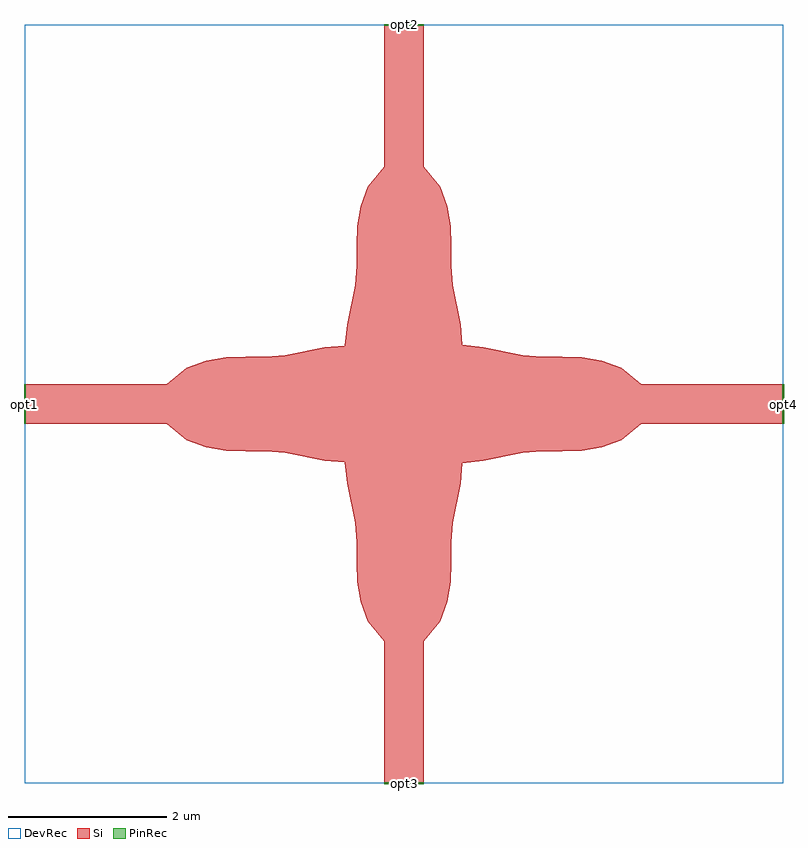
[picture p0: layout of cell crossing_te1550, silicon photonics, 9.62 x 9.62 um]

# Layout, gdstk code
import gdstk
lib = gdstk.Library(unit=1e-6, precision=1e-09)
def R(c, l, rs):  # rectangles x0, y0, x1, y1
    for r in rs: c.add(gdstk.rectangle(r[:2], r[2:], *l))
def P(c, l, *ps):  # polygons
    for p in ps: c.add(gdstk.Polygon(p, *l))
Si = (1, 0)
PinRec = (1, 10)
DevRec = (68, 0)

crossing_te1550 = lib.new_cell('crossing_te1550')
P(crossing_te1550, Si, [(-0.25,-4.8),(-0.25,-3),(-0.46,-2.75),(-0.55,-2.5),(-0.59,-2.25),(-0.6,-2),(-0.6,-1.75),(-0.62,-1.5),(-0.72,-1),(-0.75,-0.74),(-1,-0.72),(-1.5,-0.62),(-1.75,-0.6),(-2,-0.6),(-2.25,-0.59),(-2.5,-0.55),(-2.75,-0.46),(-3,-0.25),(-4.8,-0.25),(-4.8,0.25),(-3,0.25),(-2.75,0.46),(-2.5,0.55),(-2.25,0.59),(-2,0.6),(-1.75,0.6),(-1.5,0.62),(-1,0.72),(-0.75,0.74),(-0.72,1),(-0.62,1.5),(-0.6,1.75),(-0.6,2),(-0.59,2.25),(-0.55,2.5),(-0.46,2.75),(-0.25,3),(-0.25,4.8),(0.25,4.8),(0.25,3),(0.46,2.75),(0.55,2.5),(0.59,2.25),(0.6,2),(0.6,1.75),(0.62,1.5),(0.72,1),(0.74,0.75),(1,0.72),(1.5,0.62),(1.75,0.6),(2,0.6),(2.25,0.59),(2.5,0.55),(2.75,0.46),(3,0.25),(4.8,0.25),(4.8,-0.25),(3,-0.25),(2.75,-0.46),(2.5,-0.55),(2.25,-0.59),(2,-0.6),(1.75,-0.6),(1.5,-0.62),(1,-0.72),(0.74,-0.75),(0.72,-1),(0.62,-1.5),(0.6,-1.75),(0.6,-2),(0.59,-2.25),(0.55,-2.5),(0.46,-2.75),(0.25,-3),(0.25,-4.8)])
R(crossing_te1550, DevRec, [(-4.8,-4.8,4.8,4.8)])
crossing_te1550.add(gdstk.FlexPath([(-4.79,0),(-4.81,0)], 0.5, ends="flush", simple_path=True, layer=1, datatype=10))  # PinRec
crossing_te1550.add(gdstk.FlexPath([(4.79,0),(4.81,0)], 0.5, ends="flush", simple_path=True, layer=1, datatype=10))  # PinRec
crossing_te1550.add(gdstk.FlexPath([(0,4.79),(0,4.81)], 0.5, ends="flush", simple_path=True, layer=1, datatype=10))  # PinRec
crossing_te1550.add(gdstk.FlexPath([(0,-4.79),(0,-4.81)], 0.5, ends="flush", simple_path=True, layer=1, datatype=10))  # PinRec
crossing_te1550.add(gdstk.Label('opt1', (-4.8,0), layer=1, texttype=10))
crossing_te1550.add(gdstk.Label('opt2', (0,4.8), layer=1, texttype=10))
crossing_te1550.add(gdstk.Label('opt4', (4.8,0), layer=1, texttype=10))
crossing_te1550.add(gdstk.Label('opt3', (0,-4.8), layer=1, texttype=10))

lib.write_gds('crossing_te1550.gds')
